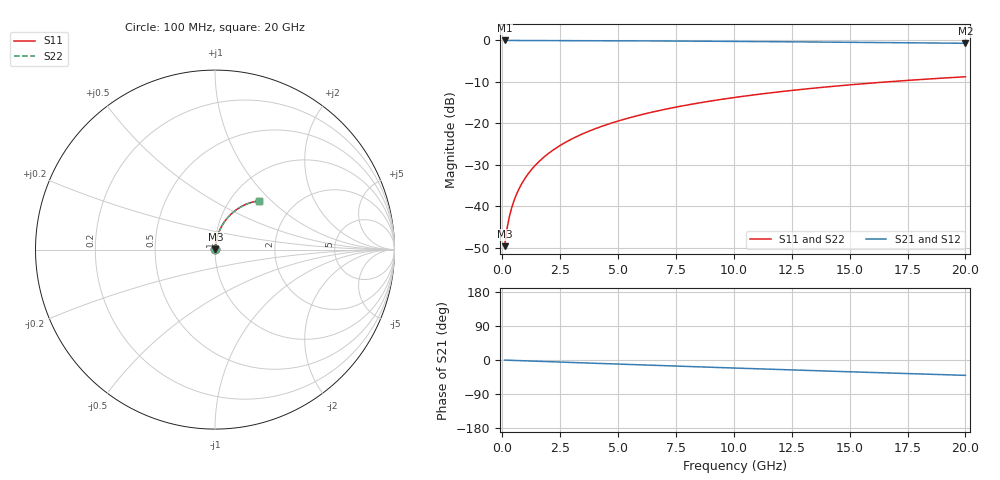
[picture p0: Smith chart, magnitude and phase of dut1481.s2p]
! Touchstone file exported from HFSS 2026.1.0
!  File:  C:/ffzhzh/LocalFiles/Ansys_Project_Files/temp_train_TMRDL_1481_1783167706_51560.aedt
!  Generated:  08:23:03 PM Jul  4, 2026
!  Design:  TMRDL
!  Project:  temp_train_TMRDL_1481_1783167706_51560
! Variables:
!  h_bsmrdl = 2um
!  h_ox = 20um
!  h_rdl = 5um
!  h_sub = 80um
!  h_tmrdl = 3.51um
!  h_tsv = 80um
!  h_via = 3um
!  l_bsmrdl = 300um
!  l_sub = 978.72um
!  l_tmrdl = 578.72um
!  m_sub = 200um
!  pitch = 59.22um
!  r_tsv = 6um
!  s_tmrdl = 10um
!  w_bsmrdl = 18um
!  w_sub = 500um
!  w_tmrdl = 28.8um
!  x_tsv_center1 = 593.12um
!  x_tsv_center2 = 911.12um
!  x_tsv_center3 = 1518.64um
!  x_tsv_center4 = 1836.64um
!  x_tsv_center5 = 2444.16um
!  x_tsv_center6 = 2762.16um
# GHz S MA R 50.000000
! Terminal data exported
! Port[1] = TM_RDL1_1_T1
! Port[2] = TM_RDL1_1_T2
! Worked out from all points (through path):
!   200 points, 100 MHz to 20 GHz, reference 50 ohm
!   highest |S21| = -0.02 dB at 100 MHz (marker M1); lowest = -0.7 dB at 20 GHz (marker M2)
!   group delay of S21, straight-line fit = 5.63 ps
!   lowest |S11| = -49.6 dB at 100 MHz (marker M3), VSWR 1.01, Z = 50.2 + j0.24 ohm
!   |S11| at or under -10 dB: start of sweep to 16.62 GHz
!   |S22| runs from -49.6 to -8.8 dB; largest |S21 - S12| = 4.1e-15
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0.1  0.003314 46.2  0.9977 -0.2  0.9977 -0.2  0.003314 46.2
! Gamma 0 0 0 0
! Port Impedance 50 0 50 0
0.2  0.005303 62.2  0.9975 -0.5  0.9975 -0.5  0.005303 62.2
0.3  0.007397 68.8  0.9974 -0.7  0.9974 -0.7  0.007398 68.8
0.4  0.009491 72.5  0.9973 -0.9  0.9973 -0.9  0.009492 72.5
0.5  0.01158 74.9  0.9971 -1.1  0.9971 -1.1  0.01159 74.9
0.7  0.01579 77.8  0.997 -1.5  0.997 -1.5  0.01579 77.8
0.8  0.01791 78.7  0.9969 -1.8  0.9969 -1.8  0.01791 78.7
1  0.02216 80.0  0.9968 -2.2  0.9968 -2.2  0.02216 79.9
1.2  0.02643 80.7  0.9966 -2.6  0.9966 -2.6  0.02643 80.7
1.4  0.03071 81.1  0.9964 -3.1  0.9964 -3.1  0.03071 81.1
1.7  0.03713 81.3  0.9961 -3.7  0.9961 -3.7  0.03713 81.3
2  0.04356 81.3  0.9958 -4.4  0.9958 -4.4  0.04356 81.3
2.7  0.05851 80.7  0.9948 -5.9  0.9948 -5.9  0.05851 80.6
3.5  0.07546 79.5  0.9933 -7.6  0.9933 -7.6  0.07546 79.5
4.2  0.09015 78.3  0.9917 -9.1  0.9917 -9.1  0.09015 78.2
5  0.1067 76.8  0.9897 -10.8  0.9897 -10.8  0.1067 76.7
6.8  0.1432 73.3  0.9843 -14.6  0.9843 -14.6  0.1432 73.2
8.3  0.1725 70.3  0.9789 -17.7  0.9789 -17.7  0.1725 70.2
10.1  0.2064 66.8  0.9716 -21.4  0.9716 -21.4  0.2064 66.7
13.4  0.2647 60.4  0.9565 -28.0  0.9565 -28.0  0.2647 60.3
16.7  0.3175 54.2  0.9398 -34.4  0.9398 -34.4  0.3175 54.1
20  0.3644 48.2  0.9224 -40.5  0.9224 -40.5  0.3644 48.0
